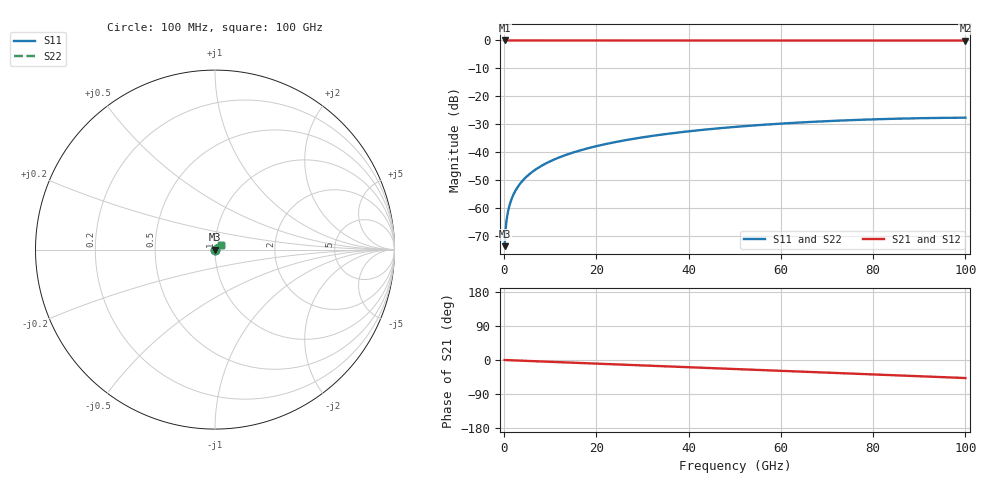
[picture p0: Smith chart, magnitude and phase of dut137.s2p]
! Touchstone file exported from HFSS 2026.1.0
!  File:  C:/ffzhzh/LocalFiles/Ansys_Project_Files/temp_train_TSV_137_1783506392_55944.aedt
!  Generated:  06:27:51 PM Jul  8, 2026
!  Design:  TSV
!  Project:  temp_train_TSV_137_1783506392_55944
! Variables:
!  h_bsmrdl = 2um
!  h_ox = 20um
!  h_rdl = 5um
!  h_sub = 98.42um
!  h_tmrdl = 5um
!  h_tsv = 98.42um
!  h_via = 3um
!  l_bsmrdl = 300um
!  l_sub = 418.54um
!  l_tmrdl = 200um
!  m_sub = 200um
!  pitch = 41.31um
!  r_tsv = 9.27um
!  s_tmrdl = 10um
!  w_bsmrdl = 18um
!  w_sub = 500um
!  w_tmrdl = 12um
!  x_tsv_center1 = 206um
!  x_tsv_center2 = 524um
!  x_tsv_center3 = 736um
!  x_tsv_center4 = 1054um
!  x_tsv_center5 = 1266um
!  x_tsv_center6 = 1584um
# GHz S MA R 50.000000
! Terminal data exported
! Port[1] = TSV1_1_T1
! Port[2] = TSV1_1_T2
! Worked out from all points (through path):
!   1000 points, 100 MHz to 100 GHz, reference 50 ohm
!   highest |S21| = 0.00 dB at 100 MHz (marker M1); lowest = 0.0 dB at 100 GHz (marker M2)
!   group delay of S21, straight-line fit = 1.32 ps
!   lowest |S11| = -73.8 dB at 100 MHz (marker M3), VSWR 1.00, Z = 50 + j0.0115 ohm
!   |S11| at or under -10 dB: start of sweep to end of sweep
!   |S22| runs from -73.8 to -27.7 dB; largest |S21 - S12| = 3.5e-15
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0.1  0.0002043 34.2  0.9998 -0.1  0.9998 -0.1  0.0002043 34.2
! Gamma 0 0 0 0
! Port Impedance 50 0 50 0
0.4  0.0004844 61.4  0.9998 -0.2  0.9998 -0.2  0.0004844 61.4
0.8  0.0008258 66.5  0.9997 -0.4  0.9997 -0.4  0.0008258 66.5
1.1  0.001056 68.5  0.9996 -0.5  0.9996 -0.5  0.001056 68.5
1.4  0.001278 69.9  0.9996 -0.7  0.9996 -0.7  0.001278 69.9
1.9  0.001637 71.5  0.9995 -0.9  0.9995 -0.9  0.001637 71.5
2.5  0.002055 72.7  0.9994 -1.2  0.9994 -1.2  0.002055 72.7
3.2  0.002527 73.6  0.9993 -1.6  0.9993 -1.6  0.002527 73.6
4  0.003052 74.3  0.9993 -1.9  0.9993 -1.9  0.003052 74.3
5  0.003694 74.9  0.9992 -2.4  0.9992 -2.4  0.003694 74.9
6.2  0.004454 75.4  0.9991 -3.0  0.9991 -3.0  0.004454 75.4
9  0.006196 75.6  0.9989 -4.3  0.9989 -4.3  0.006196 75.6
12.5  0.008322 75.0  0.9987 -6.0  0.9987 -6.0  0.008322 75.0
16.8  0.01086 74.0  0.9984 -8.0  0.9984 -8.0  0.01086 74.0
20.3  0.01288 72.9  0.9983 -9.7  0.9983 -9.7  0.01288 72.9
24.2  0.01509 71.6  0.9981 -11.5  0.9981 -11.5  0.01509 71.6
33.4  0.02009 68.1  0.9977 -15.9  0.9977 -15.9  0.02009 68.1
41.3  0.02409 64.8  0.9973 -19.7  0.9973 -19.7  0.02409 64.9
50.1  0.02818 61.0  0.997 -23.8  0.997 -23.8  0.02818 61.1
66.7  0.03464 53.6  0.9964 -31.7  0.9964 -31.7  0.03464 53.7
83.4  0.03917 45.9  0.9958 -39.7  0.9958 -39.7  0.03917 46.0
100  0.04117 38.2  0.9953 -47.6  0.9953 -47.6  0.04117 38.3
